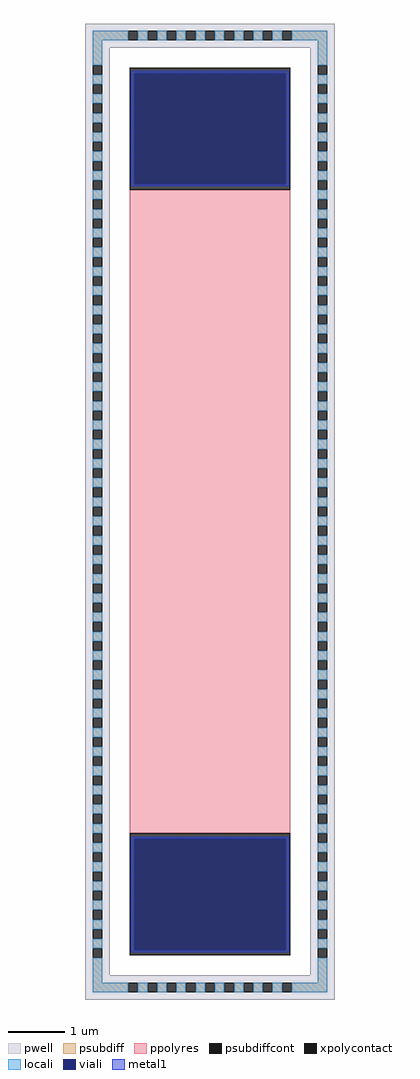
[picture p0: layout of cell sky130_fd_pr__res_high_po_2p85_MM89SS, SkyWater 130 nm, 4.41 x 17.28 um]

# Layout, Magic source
magic
tech sky130A
magscale 1 2
<< pwell >>
rect -441 1642 441 1728
rect -441 -1642 -355 1642
rect 355 -1642 441 1642
rect -441 -1728 441 -1642
<< psubdiff >>
rect -415 1668 -289 1702
rect -255 1668 -221 1702
rect -187 1668 -153 1702
rect -119 1668 -85 1702
rect -51 1668 -17 1702
rect 17 1668 51 1702
rect 85 1668 119 1702
rect 153 1668 187 1702
rect 221 1668 255 1702
rect 289 1668 415 1702
rect -415 1581 -381 1668
rect 381 1581 415 1668
rect -415 1513 -381 1547
rect -415 1445 -381 1479
rect -415 1377 -381 1411
rect -415 1309 -381 1343
rect -415 1241 -381 1275
rect -415 1173 -381 1207
rect -415 1105 -381 1139
rect -415 1037 -381 1071
rect -415 969 -381 1003
rect -415 901 -381 935
rect -415 833 -381 867
rect -415 765 -381 799
rect -415 697 -381 731
rect -415 629 -381 663
rect -415 561 -381 595
rect -415 493 -381 527
rect -415 425 -381 459
rect -415 357 -381 391
rect -415 289 -381 323
rect -415 221 -381 255
rect -415 153 -381 187
rect -415 85 -381 119
rect -415 17 -381 51
rect -415 -51 -381 -17
rect -415 -119 -381 -85
rect -415 -187 -381 -153
rect -415 -255 -381 -221
rect -415 -323 -381 -289
rect -415 -391 -381 -357
rect -415 -459 -381 -425
rect -415 -527 -381 -493
rect -415 -595 -381 -561
rect -415 -663 -381 -629
rect -415 -731 -381 -697
rect -415 -799 -381 -765
rect -415 -867 -381 -833
rect -415 -935 -381 -901
rect -415 -1003 -381 -969
rect -415 -1071 -381 -1037
rect -415 -1139 -381 -1105
rect -415 -1207 -381 -1173
rect -415 -1275 -381 -1241
rect -415 -1343 -381 -1309
rect -415 -1411 -381 -1377
rect -415 -1479 -381 -1445
rect -415 -1547 -381 -1513
rect 381 1513 415 1547
rect 381 1445 415 1479
rect 381 1377 415 1411
rect 381 1309 415 1343
rect 381 1241 415 1275
rect 381 1173 415 1207
rect 381 1105 415 1139
rect 381 1037 415 1071
rect 381 969 415 1003
rect 381 901 415 935
rect 381 833 415 867
rect 381 765 415 799
rect 381 697 415 731
rect 381 629 415 663
rect 381 561 415 595
rect 381 493 415 527
rect 381 425 415 459
rect 381 357 415 391
rect 381 289 415 323
rect 381 221 415 255
rect 381 153 415 187
rect 381 85 415 119
rect 381 17 415 51
rect 381 -51 415 -17
rect 381 -119 415 -85
rect 381 -187 415 -153
rect 381 -255 415 -221
rect 381 -323 415 -289
rect 381 -391 415 -357
rect 381 -459 415 -425
rect 381 -527 415 -493
rect 381 -595 415 -561
rect 381 -663 415 -629
rect 381 -731 415 -697
rect 381 -799 415 -765
rect 381 -867 415 -833
rect 381 -935 415 -901
rect 381 -1003 415 -969
rect 381 -1071 415 -1037
rect 381 -1139 415 -1105
rect 381 -1207 415 -1173
rect 381 -1275 415 -1241
rect 381 -1343 415 -1309
rect 381 -1411 415 -1377
rect 381 -1479 415 -1445
rect 381 -1547 415 -1513
rect -415 -1668 -381 -1581
rect 381 -1668 415 -1581
rect -415 -1702 -289 -1668
rect -255 -1702 -221 -1668
rect -187 -1702 -153 -1668
rect -119 -1702 -85 -1668
rect -51 -1702 -17 -1668
rect 17 -1702 51 -1668
rect 85 -1702 119 -1668
rect 153 -1702 187 -1668
rect 221 -1702 255 -1668
rect 289 -1702 415 -1668
<< psubdiffcont >>
rect -289 1668 -255 1702
rect -221 1668 -187 1702
rect -153 1668 -119 1702
rect -85 1668 -51 1702
rect -17 1668 17 1702
rect 51 1668 85 1702
rect 119 1668 153 1702
rect 187 1668 221 1702
rect 255 1668 289 1702
rect -415 1547 -381 1581
rect -415 1479 -381 1513
rect -415 1411 -381 1445
rect -415 1343 -381 1377
rect -415 1275 -381 1309
rect -415 1207 -381 1241
rect -415 1139 -381 1173
rect -415 1071 -381 1105
rect -415 1003 -381 1037
rect -415 935 -381 969
rect -415 867 -381 901
rect -415 799 -381 833
rect -415 731 -381 765
rect -415 663 -381 697
rect -415 595 -381 629
rect -415 527 -381 561
rect -415 459 -381 493
rect -415 391 -381 425
rect -415 323 -381 357
rect -415 255 -381 289
rect -415 187 -381 221
rect -415 119 -381 153
rect -415 51 -381 85
rect -415 -17 -381 17
rect -415 -85 -381 -51
rect -415 -153 -381 -119
rect -415 -221 -381 -187
rect -415 -289 -381 -255
rect -415 -357 -381 -323
rect -415 -425 -381 -391
rect -415 -493 -381 -459
rect -415 -561 -381 -527
rect -415 -629 -381 -595
rect -415 -697 -381 -663
rect -415 -765 -381 -731
rect -415 -833 -381 -799
rect -415 -901 -381 -867
rect -415 -969 -381 -935
rect -415 -1037 -381 -1003
rect -415 -1105 -381 -1071
rect -415 -1173 -381 -1139
rect -415 -1241 -381 -1207
rect -415 -1309 -381 -1275
rect -415 -1377 -381 -1343
rect -415 -1445 -381 -1411
rect -415 -1513 -381 -1479
rect -415 -1581 -381 -1547
rect 381 1547 415 1581
rect 381 1479 415 1513
rect 381 1411 415 1445
rect 381 1343 415 1377
rect 381 1275 415 1309
rect 381 1207 415 1241
rect 381 1139 415 1173
rect 381 1071 415 1105
rect 381 1003 415 1037
rect 381 935 415 969
rect 381 867 415 901
rect 381 799 415 833
rect 381 731 415 765
rect 381 663 415 697
rect 381 595 415 629
rect 381 527 415 561
rect 381 459 415 493
rect 381 391 415 425
rect 381 323 415 357
rect 381 255 415 289
rect 381 187 415 221
rect 381 119 415 153
rect 381 51 415 85
rect 381 -17 415 17
rect 381 -85 415 -51
rect 381 -153 415 -119
rect 381 -221 415 -187
rect 381 -289 415 -255
rect 381 -357 415 -323
rect 381 -425 415 -391
rect 381 -493 415 -459
rect 381 -561 415 -527
rect 381 -629 415 -595
rect 381 -697 415 -663
rect 381 -765 415 -731
rect 381 -833 415 -799
rect 381 -901 415 -867
rect 381 -969 415 -935
rect 381 -1037 415 -1003
rect 381 -1105 415 -1071
rect 381 -1173 415 -1139
rect 381 -1241 415 -1207
rect 381 -1309 415 -1275
rect 381 -1377 415 -1343
rect 381 -1445 415 -1411
rect 381 -1513 415 -1479
rect 381 -1581 415 -1547
rect -289 -1702 -255 -1668
rect -221 -1702 -187 -1668
rect -153 -1702 -119 -1668
rect -85 -1702 -51 -1668
rect -17 -1702 17 -1668
rect 51 -1702 85 -1668
rect 119 -1702 153 -1668
rect 187 -1702 221 -1668
rect 255 -1702 289 -1668
<< xpolycontact >>
rect -285 1140 285 1572
rect -285 -1572 285 -1140
<< ppolyres >>
rect -285 -1140 285 1140
<< locali >>
rect -415 1668 -289 1702
rect -255 1668 -221 1702
rect -187 1668 -153 1702
rect -119 1668 -85 1702
rect -51 1668 -17 1702
rect 17 1668 51 1702
rect 85 1668 119 1702
rect 153 1668 187 1702
rect 221 1668 255 1702
rect 289 1668 415 1702
rect -415 1581 -381 1668
rect 381 1581 415 1668
rect -415 1513 -381 1547
rect -415 1445 -381 1479
rect -415 1377 -381 1411
rect -415 1309 -381 1343
rect -415 1241 -381 1275
rect -415 1173 -381 1207
rect 381 1513 415 1547
rect 381 1445 415 1479
rect 381 1377 415 1411
rect 381 1309 415 1343
rect 381 1241 415 1275
rect 381 1173 415 1207
rect -415 1105 -381 1139
rect -415 1037 -381 1071
rect -415 969 -381 1003
rect -415 901 -381 935
rect -415 833 -381 867
rect -415 765 -381 799
rect -415 697 -381 731
rect -415 629 -381 663
rect -415 561 -381 595
rect -415 493 -381 527
rect -415 425 -381 459
rect -415 357 -381 391
rect -415 289 -381 323
rect -415 221 -381 255
rect -415 153 -381 187
rect -415 85 -381 119
rect -415 17 -381 51
rect -415 -51 -381 -17
rect -415 -119 -381 -85
rect -415 -187 -381 -153
rect -415 -255 -381 -221
rect -415 -323 -381 -289
rect -415 -391 -381 -357
rect -415 -459 -381 -425
rect -415 -527 -381 -493
rect -415 -595 -381 -561
rect -415 -663 -381 -629
rect -415 -731 -381 -697
rect -415 -799 -381 -765
rect -415 -867 -381 -833
rect -415 -935 -381 -901
rect -415 -1003 -381 -969
rect -415 -1071 -381 -1037
rect -415 -1139 -381 -1105
rect 381 1105 415 1139
rect 381 1037 415 1071
rect 381 969 415 1003
rect 381 901 415 935
rect 381 833 415 867
rect 381 765 415 799
rect 381 697 415 731
rect 381 629 415 663
rect 381 561 415 595
rect 381 493 415 527
rect 381 425 415 459
rect 381 357 415 391
rect 381 289 415 323
rect 381 221 415 255
rect 381 153 415 187
rect 381 85 415 119
rect 381 17 415 51
rect 381 -51 415 -17
rect 381 -119 415 -85
rect 381 -187 415 -153
rect 381 -255 415 -221
rect 381 -323 415 -289
rect 381 -391 415 -357
rect 381 -459 415 -425
rect 381 -527 415 -493
rect 381 -595 415 -561
rect 381 -663 415 -629
rect 381 -731 415 -697
rect 381 -799 415 -765
rect 381 -867 415 -833
rect 381 -935 415 -901
rect 381 -1003 415 -969
rect 381 -1071 415 -1037
rect 381 -1139 415 -1105
rect -415 -1207 -381 -1173
rect -415 -1275 -381 -1241
rect -415 -1343 -381 -1309
rect -415 -1411 -381 -1377
rect -415 -1479 -381 -1445
rect -415 -1547 -381 -1513
rect 381 -1207 415 -1173
rect 381 -1275 415 -1241
rect 381 -1343 415 -1309
rect 381 -1411 415 -1377
rect 381 -1479 415 -1445
rect 381 -1547 415 -1513
rect -415 -1668 -381 -1581
rect 381 -1668 415 -1581
rect -415 -1702 -289 -1668
rect -255 -1702 -221 -1668
rect -187 -1702 -153 -1668
rect -119 -1702 -85 -1668
rect -51 -1702 -17 -1668
rect 17 -1702 51 -1668
rect 85 -1702 119 -1668
rect 153 -1702 187 -1668
rect 221 -1702 255 -1668
rect 289 -1702 415 -1668
<< viali >>
rect -269 1158 269 1552
rect -269 -1553 269 -1159
<< metal1 >>
rect -281 1552 281 1560
rect -281 1158 -269 1552
rect 269 1158 281 1552
rect -281 1151 281 1158
rect -281 -1159 281 -1151
rect -281 -1553 -269 -1159
rect 269 -1553 281 -1159
rect -281 -1560 281 -1553
<< properties >>
string FIXED_BBOX -398 -1685 398 1685
<< end >>
